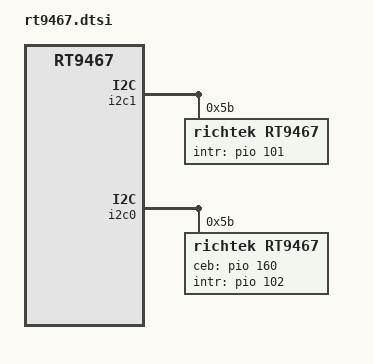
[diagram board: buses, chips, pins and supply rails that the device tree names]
/*
 * Copyright (c) 2017 MediaTek Inc.
 * Author: Shi.Ma <shi.ma@mediatek.com>
 *
 * This program is free software; you can redistribute it and/or modify
 * it under the terms of the GNU General Public License version 2 as
 * published by the Free Software Foundation.
 *
 * This program is distributed in the hope that it will be useful,
 * but WITHOUT ANY WARRANTY; without even the implied warranty of
 * MERCHANTABILITY or FITNESS FOR A PARTICULAR PURPOSE.  See the
 * GNU General Public License for more details.
 */

&i2c1 {
	rt9467@5b {
		compatible = "richtek,rt9467";
		reg = <0x5b>;
		rt,intr_gpio_num = <101>;	/* direct defined GPIO num */
		rt,intr_gpio = <&pio 101 0x0>;
		interrupt-names = "wdtmri", "chg_mivr", "chg_aiclmeasi",
			"attachi", "detachi", "pwr_rdy", "chg_statci";
		status = "okay";
		/*
		 * Charger name
		 * Main charger: primary_chg
		 * Slave charger: secondary_chg
		 */
		charger_name = "primary_chg";
		regmap_name = "rt9467_primary";
		regmap_represent_slave_addr = <0x5b>;
		ichg = <2000000>;	/* uA */
		aicr = <500000>;	/* uA */
		mivr = <4400000>;	/* uV */
		cv = <4350000>;		/* uV */
		ieoc = <250000>;	/* uA */
		safety_timer = <12>;	/* hour */
		ircmp_resistor = <25000>;	/* uohm */
		ircmp_vclamp = <32000>;		/* uV */
		en_te;
		en_wdt;
		en_chgdet;
		/* en_jeita; */
		/* en_irq_pulse; */
	};
};

&i2c0 {
	rt9467@5b {
		compatible = "richtek,rt9467";
		reg = <0x5b>;
		rt,ceb_gpio_num = <160>;
		rt,ceb_gpio = <&pio 160 0x0>;
		rt,intr_gpio_num = <102>;	/* direct defined GPIO num */
		rt,intr_gpio = <&pio 102 0x0>;
		status = "okay";
		/*
		 * Charger name
		 * Main charger: primary_chg
		 * Slave charger: secondary_chg
		 */
		charger_name = "secondary_chg";
		regmap_name = "rt9467_secondary";
		regmap_represent_slave_addr = <0x5c>;
		ichg = <2000000>;	/* uA */
		aicr = <500000>;	/* uA */
		mivr = <4400000>;	/* uV */
		cv = <4350000>;		/* uV */
		ieoc = <250000>;	/* uA */
		safety_timer = <12>;	/* hour */
		ircmp_resistor = <25000>;	/* uohm */
		ircmp_vclamp = <32000>;		/* uV */
		en_te;
		/* en_wdt; */
		/* en_chgdet; */
		/* en_jeita; */
		/* en_irq_pulse; */
		/* ceb_invert; */
	};
};
